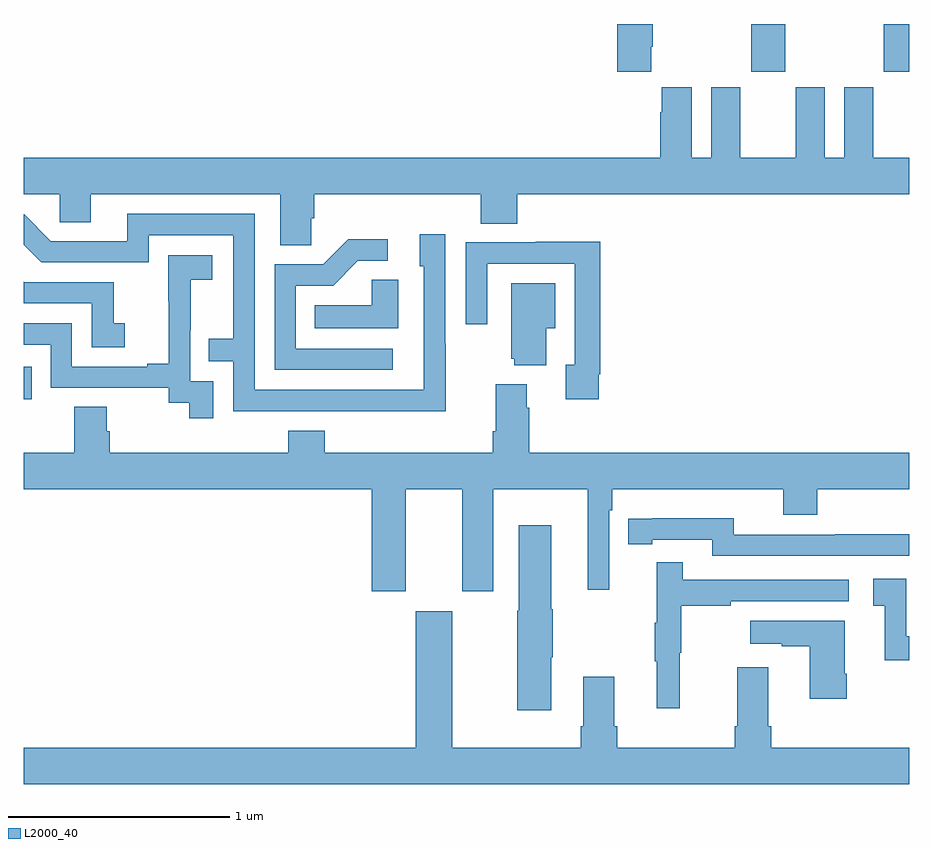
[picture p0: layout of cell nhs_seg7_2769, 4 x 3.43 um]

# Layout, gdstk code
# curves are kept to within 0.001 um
import gdstk
lib = gdstk.Library(unit=1e-6, precision=1e-09)
def R(c, l, rs):  # rectangles x0, y0, x1, y1
    for r in rs: c.add(gdstk.rectangle(r[:2], r[2:], *l))
def P(c, l, *ps):  # polygons
    for p in ps: c.add(gdstk.Polygon(p, *l))
L2000_40 = (2000, 40)

nhs_seg7_2769 = lib.new_cell('nhs_seg7_2769')
R(nhs_seg7_2769, L2000_40, [(289,1050.306,289.037,1050.453), (292.285,1051.785,292.44,1052), (292.885,1051.785,293,1052)])
P(nhs_seg7_2769, L2000_40, [(291.835,1051.897),(291.84,1051.897),(291.84,1052),(291.68,1052),(291.68,1051.785),(291.835,1051.785)],
  [(290.298,1051.123),(290.312,1051.123),(290.312,1051.232),(291.065,1051.232),(291.065,1051.099),(291.23,1051.099),(291.23,1051.232),(293,1051.232),(293,1051.396),(292.837,1051.396),(292.837,1051.714),(292.706,1051.714),(292.706,1051.396),(292.618,1051.396),(292.618,1051.714),(292.487,1051.714),(292.487,1051.396),(292.237,1051.396),(292.237,1051.714),(292.106,1051.714),(292.106,1051.396),(292.018,1051.396),(292.018,1051.714),(291.881,1051.714),(291.881,1051.601),(291.875,1051.601),(291.875,1051.396),(289,1051.396),(289,1051.232),(289.164,1051.232),(289.164,1051.105),(289.303,1051.105),(289.303,1051.232),(290.159,1051.232),(290.159,1051),(290.298,1051)],
  [(290.907,1050.557),(290.904,1050.557),(290.904,1051.051),(290.789,1051.051),(290.789,1050.906),(290.808,1050.906),(290.808,1050.348),(290.043,1050.348),(290.043,1051.143),(289.469,1051.143),(289.469,1051.02),(289.122,1051.02),(289.002,1051.14),(289,1051.14),(289,1051.004),(289.08,1050.924),(289.566,1050.924),(289.566,1051.047),(289.947,1051.047),(289.947,1050.578),(289.837,1050.578),(289.837,1050.477),(289.947,1050.477),(289.947,1050.252),(290.907,1050.251)],
  [(290.668,1050.534),(290.229,1050.534),(290.229,1050.819),(290.398,1050.819),(290.509,1050.93),(290.644,1050.93),(290.644,1051.028),(290.465,1051.028),(290.352,1050.915),(290.133,1050.915),(290.133,1050.438),(290.668,1050.438)],
  [(291.598,1050.418),(291.605,1050.418),(291.605,1051.016),(291.313,1051.016),(291.313,1051.014),(290.997,1051.014),(290.997,1050.645),(291.093,1050.645),(291.093,1050.918),(291.489,1050.918),(291.489,1050.462),(291.449,1050.462),(291.449,1050.306),(291.598,1050.306)],
  [(289.857,1050.387),(289.752,1050.387),(289.752,1050.617),(289.754,1050.617),(289.754,1050.845),(289.852,1050.845),(289.852,1050.955),(289.654,1050.955),(289.654,1050.749),(289.655,1050.749),(289.655,1050.466),(289.559,1050.466),(289.559,1050.453),(289.218,1050.453),(289.218,1050.648),(289,1050.648),(289,1050.552),(289.122,1050.552),(289.122,1050.357),(289.656,1050.357),(289.656,1050.289),(289.749,1050.289),(289.749,1050.219),(289.857,1050.219)],
  [(290.692,1050.845),(290.571,1050.845),(290.571,1050.73),(290.314,1050.73),(290.314,1050.626),(290.692,1050.626)],
  [(289.456,1050.649),(289.407,1050.649),(289.407,1050.834),(289.003,1050.834),(289,1050.837),(289,1050.738),(289.308,1050.738),(289.308,1050.54),(289.456,1050.54)],
  [(291.361,1050.626),(291.4,1050.626),(291.4,1050.829),(291.203,1050.829),(291.203,1050.489),(291.215,1050.489),(291.215,1050.458),(291.361,1050.458)],
  [(290.725,1049.9),(290.981,1049.9),(290.981,1049.439),(291.121,1049.439),(291.121,1049.9),(291.548,1049.9),(291.548,1049.445),(291.645,1049.445),(291.645,1049.804),(291.659,1049.804),(291.659,1049.9),(292.43,1049.9),(292.43,1049.783),(292.583,1049.783),(292.583,1049.9),(293,1049.9),(293,1050.064),(291.284,1050.064),(291.284,1050.266),(291.271,1050.266),(291.271,1050.373),(291.131,1050.373),(291.131,1050.16),(291.119,1050.16),(291.119,1050.064),(290.36,1050.064),(290.36,1050.163),(290.195,1050.163),(290.195,1050.064),(289.388,1050.064),(289.388,1050.162),(289.375,1050.162),(289.375,1050.272),(289.228,1050.272),(289.228,1050.064),(289,1050.064),(289,1049.9),(290.573,1049.9),(290.573,1049.439),(290.725,1049.439)],
  [(293,1049.696),(292.666,1049.696),(292.666,1049.694),(292.206,1049.694),(292.206,1049.767),(291.838,1049.767),(291.838,1049.766),(291.73,1049.766),(291.73,1049.65),(291.838,1049.65),(291.838,1049.67),(292.11,1049.67),(292.11,1049.598),(293,1049.598)],
  [(291.382,1049.14),(291.39,1049.14),(291.39,1049.357),(291.382,1049.357),(291.382,1049.737),(291.236,1049.737),(291.236,1049.351),(291.229,1049.351),(291.229,1048.902),(291.382,1048.902)],
  [(291.962,1049.16),(291.97,1049.16),(291.97,1049.374),(292.193,1049.374),(292.193,1049.394),(292.726,1049.394),(292.726,1049.49),(291.977,1049.49),(291.977,1049.569),(291.86,1049.569),(291.86,1049.297),(291.849,1049.297),(291.849,1049.123),(291.86,1049.123),(291.86,1048.911),(291.962,1048.911)],
  [(293,1049.235),(292.986,1049.235),(292.986,1049.494),(292.836,1049.494),(292.836,1049.373),(292.889,1049.373),(292.889,1049.127),(293,1049.127)],
  [(293,1048.732),(292.376,1048.732),(292.376,1048.828),(292.363,1048.828),(292.363,1049.095),(292.223,1049.095),(292.223,1048.828),(292.211,1048.828),(292.211,1048.732),(291.68,1048.732),(291.68,1048.828),(291.667,1048.828),(291.667,1049.053),(291.527,1049.053),(291.527,1048.828),(291.515,1048.828),(291.515,1048.732),(290.935,1048.732),(290.935,1049.347),(290.771,1049.347),(290.771,1048.732),(289,1048.732),(289,1048.568),(293,1048.568)],
  [(292.716,1049.065),(292.708,1049.065),(292.708,1049.305),(292.281,1049.305),(292.281,1049.201),(292.424,1049.201),(292.424,1049.191),(292.55,1049.191),(292.55,1048.953),(292.716,1048.953)])

lib.write_gds('nhs_seg7_2769.gds')
